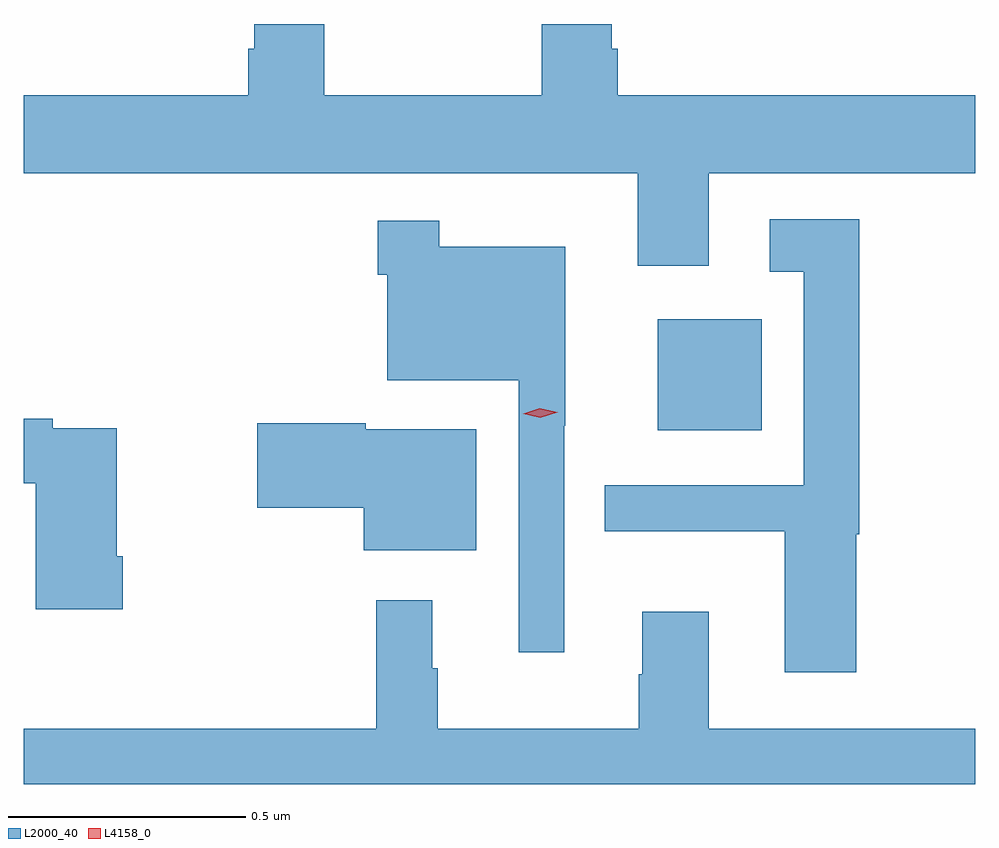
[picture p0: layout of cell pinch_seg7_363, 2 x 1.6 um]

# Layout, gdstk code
import gdstk
lib = gdstk.Library(unit=1e-6, precision=1e-09)
def R(c, l, rs):  # rectangles x0, y0, x1, y1
    for r in rs: c.add(gdstk.rectangle(r[:2], r[2:], *l))
def P(c, l, *ps):  # polygons
    for p in ps: c.add(gdstk.Polygon(p, *l))
L2000_40 = (2000, 40)
L4158_0 = (4158, 0)

pinch_seg7_363 = lib.new_cell('pinch_seg7_363')
R(pinch_seg7_363, L2000_40, [(422.162,998.744,422.38,998.977)])
P(pinch_seg7_363, L2000_40, [(422.269,999.284),(422.829,999.284),(422.829,999.448),(422.078,999.448),(422.078,999.546),(422.065,999.546),(422.065,999.598),(421.918,999.598),(421.918,999.448),(421.461,999.448),(421.461,999.598),(421.313,999.598),(421.313,999.546),(421.301,999.546),(421.301,999.448),(420.829,999.448),(420.829,999.284),(422.12,999.284),(422.12,999.09),(422.269,999.09)],
  [(422.579,998.525),(422.585,998.525),(422.585,999.187),(422.397,999.187),(422.397,999.077),(422.469,999.077),(422.469,998.628),(422.05,998.628),(422.05,998.531),(422.429,998.531),(422.429,998.235),(422.579,998.235)],
  [(421.965,998.753),(421.967,998.753),(421.967,999.13),(421.702,999.13),(421.702,999.184),(421.573,999.184),(421.573,999.071),(421.593,999.071),(421.593,998.849),(421.869,998.849),(421.869,998.277),(421.965,998.277)],
  [(421.037,998.479),(421.024,998.479),(421.024,998.748),(420.89,998.748),(420.89,998.768),(420.829,998.768),(420.829,998.632),(420.854,998.632),(420.854,998.367),(421.037,998.367)],
  [(421.78,998.746),(421.548,998.746),(421.548,998.759),(421.32,998.759),(421.32,998.581),(421.544,998.581),(421.544,998.492),(421.78,998.492)],
  [(422.829,998.116),(422.269,998.116),(422.269,998.362),(422.129,998.362),(422.129,998.231),(422.122,998.231),(422.122,998.116),(421.699,998.116),(421.699,998.243),(421.688,998.243),(421.688,998.386),(421.57,998.386),(421.57,998.116),(420.829,998.116),(420.829,998),(422.829,998)])
P(pinch_seg7_363, L4158_0, [(421.915,998.77),(421.879,998.778),(421.879,998.778),(421.879,998.778),(421.914,998.79),(421.951,998.782),(421.951,998.782),(421.951,998.782)])

lib.write_gds('pinch_seg7_363.gds')
